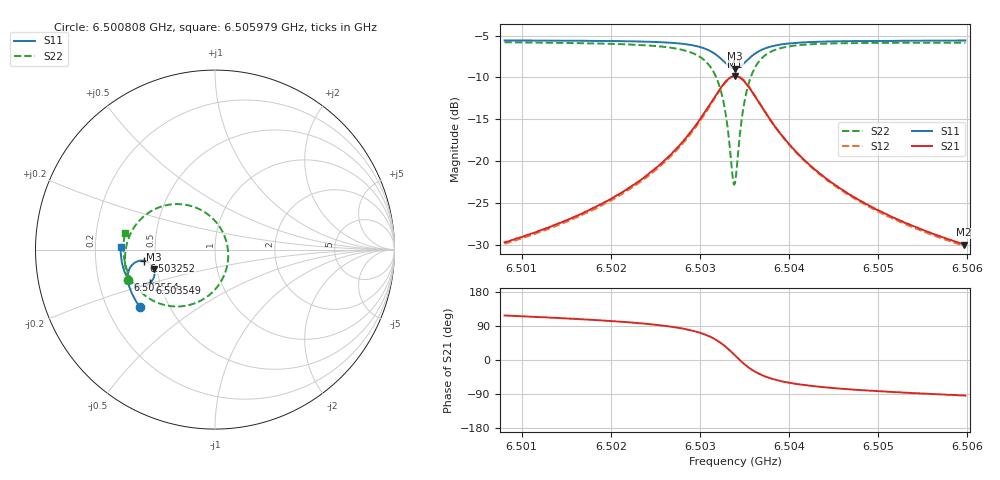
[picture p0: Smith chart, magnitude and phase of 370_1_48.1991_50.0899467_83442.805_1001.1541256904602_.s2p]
#  HZ  S  RI  R  50.00
! Rohde & Schwarz Vector Network Analyzer
! Rohde-Schwarz,ZNB20-2Port,1311601062101988,3.16
! Created: UTC 3/20/2024, 11:52:39 AM
! freq[Hz]  re:S11  im:S11  re:S21  im:S21  re:S12  im:S12  re:S22  im:S22
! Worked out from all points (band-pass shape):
!   401 points, 6.500808 GHz to 6.505979 GHz, reference 50 ohm
!   highest |S21| = -9.83 dB at 6.503394 GHz (marker M1); lowest = -30.0 dB at 6.505966 GHz (marker M2)
!   |S21| within 3 dB of the highest: 6.503136 GHz to 6.503653 GHz (516.9 kHz wide, 0.00795 % of centre)
!   lowest |S11| = -8.9 dB at 6.503394 GHz (marker M3), VSWR 2.11, Z = 24.1 - j6.09 ohm
!   |S11| at or under -10 dB: nowhere
!   |S22| runs from -22.8 to -5.8 dB; largest |S21 - S12| = 0.011
!   S11 on the Smith chart (normalised r, x): 6.500808 GHz: 0.34, -0.30; 6.502554 GHz: 0.33, -0.15; 6.503252 GHz: 0.43, -0.06; 6.503549 GHz: 0.44, -0.20; 6.505979 GHz: 0.31, +0.01
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6.5008083e9  -0.4197 -0.3179  -0.0151 0.0289  -0.0133 0.0291  -0.4855 -0.1669
6.5016745e9  -0.4578 -0.2551  -0.0145 0.0462  -0.0122 0.0459  -0.5009 -0.0772
6.5021528e9  -0.4754 -0.2135  -0.0119 0.0652  -0.00891 0.0642  -0.4995 -0.0111
6.5025406e9  -0.4851 -0.1717  -0.00332 0.0939  0.000272 0.0918  -0.4813 0.0637
6.5025536e9  -0.4853 -0.17  -0.00282 0.0954  0.000799 0.0931  -0.4803 0.0668
6.5027992e9  -0.4848 -0.1348  0.0153 0.1282  0.0191 0.1244  -0.4426 0.136
6.5029802e9  -0.4737 -0.1018  0.0494 0.1641  0.0526 0.1586  -0.3754 0.2019
6.5031482e9  -0.4395 -0.0687  0.1258 0.1972  0.127 0.1907  -0.2351 0.2528
6.5032517e9  -0.3975 -0.0616  0.2099 0.1887  0.2102 0.1833  -0.0887 0.226
6.5033034e9  -0.3723 -0.0699  0.2576 0.1613  0.2586 0.1567  -0.00923 0.1699
6.503368e9  -0.346 -0.0958  0.3049 0.0989  0.3074 0.0941  0.062 0.05
6.5033939e9  -0.3396 -0.11  0.3152 0.0674  0.318 0.0617  0.0729 -0.00873
6.5034844e9  -0.3436 -0.1617  0.3014 -0.0422  0.3035 -0.0518  0.0177 -0.2014
6.503549e9  -0.3642 -0.1871  0.2597 -0.0954  0.2587 -0.1063  -0.0766 -0.2828
6.5036524e9  -0.403 -0.2019  0.1867 -0.1313  0.1815 -0.1404  -0.2234 -0.3167
6.5038205e9  -0.4484 -0.1922  0.1065 -0.1287  0.0998 -0.1335  -0.3678 -0.2715
6.5040015e9  -0.4755 -0.171  0.0629 -0.1093  0.0569 -0.1114  -0.4386 -0.2079
6.50426e9  -0.4961 -0.1409  0.0334 -0.0856  0.0288 -0.0861  -0.4814 -0.1367
6.5046349e9  -0.5112 -0.1023  0.0152 -0.0635  0.0119 -0.0632  -0.5033 -0.0645
6.5051262e9  -0.521 -0.0572  0.00494 -0.0468  0.00278 -0.0461  -0.5096 0.0032
6.5059665e9  -0.5258 0.0135  -0.00202 -0.0314  -0.00324 -0.0308  -0.5018 0.0908
6.5059794e9  -0.5258 0.0145  -0.00222 -0.0315  -0.00332 -0.0307  -0.5015 0.0918
